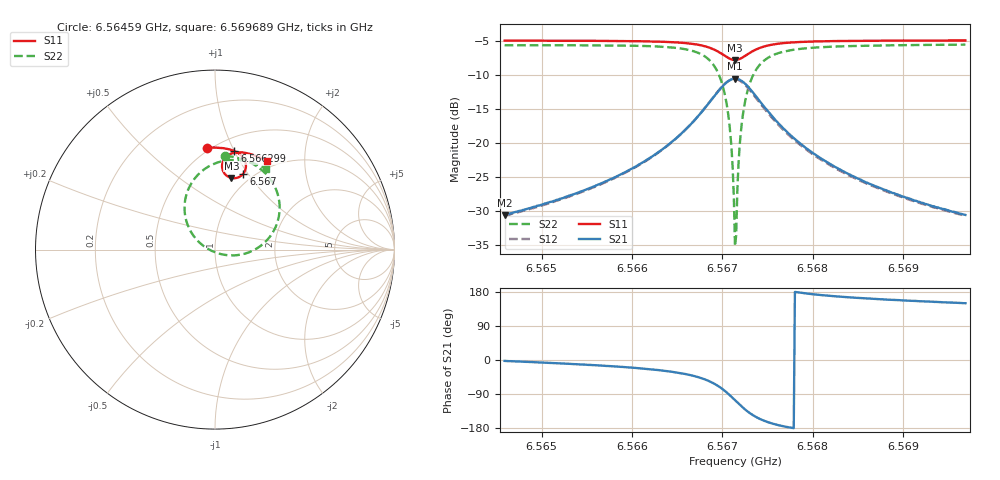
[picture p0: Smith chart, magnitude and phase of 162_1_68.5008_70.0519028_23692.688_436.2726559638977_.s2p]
#  HZ  S  RI  R  50.00
! Rohde & Schwarz Vector Network Analyzer
! Rohde-Schwarz,ZNB20-2Port,1311601062101988,3.16
! Created: UTC 3/20/2024, 5:10:58 PM
! freq[Hz]  re:S11  im:S11  re:S21  im:S21  re:S12  im:S12  re:S22  im:S22
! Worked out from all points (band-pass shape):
!   401 points, 6.56459 GHz to 6.569689 GHz, reference 50 ohm
!   highest |S21| = -10.48 dB at 6.56714 GHz (marker M1); lowest = -30.5 dB at 6.56459 GHz (marker M2)
!   |S21| within 3 dB of the highest: 6.566886 GHz to 6.567395 GHz (509.5 kHz wide, 0.00776 % of centre)
!   lowest |S11| = -7.8 dB at 6.56714 GHz (marker M3), VSWR 2.39, Z = 42.2 + j40.5 ohm
!   |S11| at or under -10 dB: nowhere
!   |S22| runs from -35.1 to -5.5 dB; largest |S21 - S12| = 0.015
!   S11 on the Smith chart (normalised r, x): 6.56459 GHz: 0.48, +0.80; 6.566299 GHz: 0.63, +1.00; 6.567 GHz: 0.90, +0.95; 6.569689 GHz: 0.90, +1.31
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6.5645904e9  -0.0448 0.5673  0.0298 -0.00124  0.0293 -0.00184  0.0558 0.523
6.5654445e9  0.026 0.5672  0.0436 -0.00917  0.0429 -0.00991  0.1394 0.507
6.5662985e9  0.1085 0.5485  0.0775 -0.0391  0.0764 -0.04  0.2597 0.4442
6.5665917e9  0.1438 0.5266  0.1007 -0.076  0.0992 -0.0776  0.3221 0.3714
6.5667956e9  0.1676 0.4919  0.1138 -0.1365  0.1112 -0.1395  0.3595 0.2544
6.5669104e9  0.1718 0.4574  0.1025 -0.1971  0.0974 -0.2008  0.343 0.1393
6.5669996e9  0.1582 0.4239  0.0619 -0.2543  0.053 -0.2577  0.2686 0.0325
6.5670378e9  0.1449 0.411  0.0309 -0.2758  0.0201 -0.2777  0.2109 -0.00571
6.5670761e9  0.127 0.4014  -0.00819 -0.2898  -0.0208 -0.2893  0.1389 -0.0289
6.5671016e9  0.1131 0.3982  -0.0377 -0.2934  -0.0508 -0.2906  0.0857 -0.0324
6.5671271e9  0.0985 0.3983  -0.0681 -0.2911  -0.0812 -0.2857  0.0316 -0.0248
6.5671398e9  0.0913 0.3994  -0.0831 -0.2875  -0.0958 -0.2811  0.00516 -0.0168
6.5671526e9  0.0841 0.4014  -0.0978 -0.2825  -0.11 -0.2751  -0.0201 -0.00628
6.5671653e9  0.0772 0.4042  -0.1118 -0.2763  -0.1234 -0.2676  -0.0439 0.00676
6.5671908e9  0.0649 0.4119  -0.1371 -0.2597  -0.147 -0.2495  -0.0863 0.0391
6.567229e9  0.0508 0.4271  -0.1665 -0.2286  -0.1737 -0.2166  -0.1334 0.098
6.56728e9  0.0408 0.4503  -0.189 -0.1824  -0.1922 -0.1703  -0.1649 0.1818
6.5673438e9  0.0405 0.4776  -0.195 -0.1298  -0.1948 -0.1189  -0.1665 0.2744
6.5675732e9  0.0786 0.5291  -0.1494 -0.0288  -0.1461 -0.0242  -0.0642 0.4441
6.5679939e9  0.1418 0.5422  -0.0852 0.00934  -0.0831 0.0106  0.0774 0.4984
6.5688479e9  0.2239 0.5232  -0.0413 0.0159  -0.0404 0.0161  0.2089 0.4822
6.5696892e9  0.2871 0.4932  -0.0258 0.015  -0.0254 0.015  0.2857 0.4483
